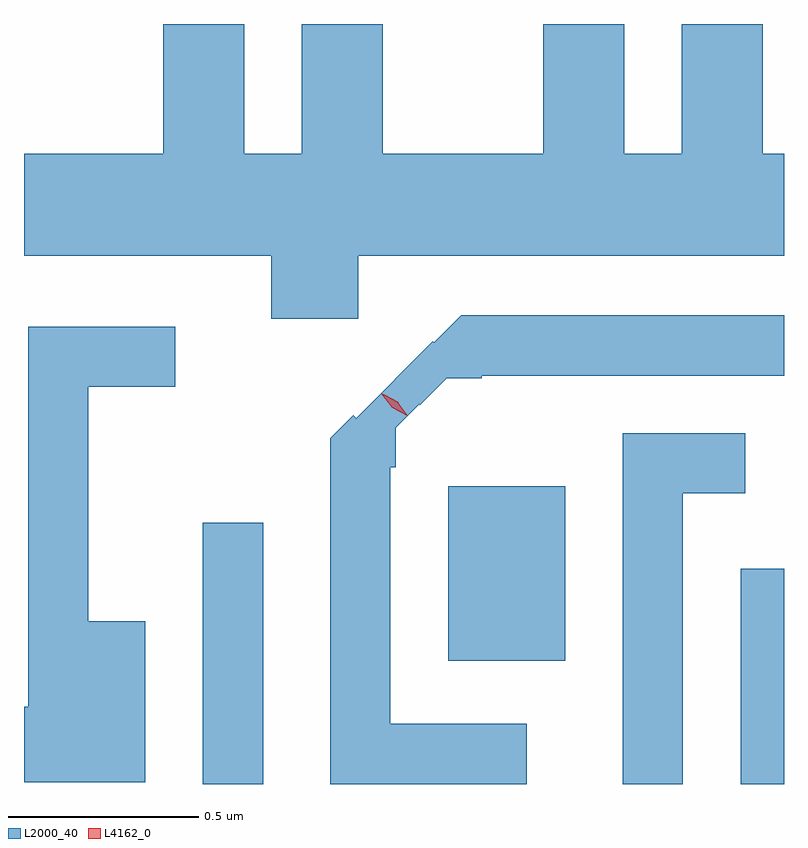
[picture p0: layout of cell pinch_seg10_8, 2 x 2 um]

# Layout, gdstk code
import gdstk
lib = gdstk.Library(unit=1e-6, precision=1e-09)
def R(c, l, rs):  # rectangles x0, y0, x1, y1
    for r in rs: c.add(gdstk.rectangle(r[:2], r[2:], *l))
def P(c, l, *ps):  # polygons
    for p in ps: c.add(gdstk.Polygon(p, *l))
L2000_40 = (2000, 40)
L4162_0 = (4162, 0)

pinch_seg10_8 = lib.new_cell('pinch_seg10_8')
R(pinch_seg10_8, L2000_40, [(839.936,2190.226,840.094,2190.913), (841.351,2190.226,841.465,2190.793), (840.581,2190.551,840.889,2191.009)])
P(pinch_seg10_8, L2000_40, [(841.465,2191.884),(841.409,2191.884),(841.409,2192.226),(841.196,2192.226),(841.196,2191.884),(841.044,2191.884),(841.044,2192.226),(840.831,2192.226),(840.831,2191.884),(840.409,2191.884),(840.409,2192.226),(840.196,2192.226),(840.196,2191.884),(840.044,2191.884),(840.044,2192.226),(839.831,2192.226),(839.831,2191.884),(839.465,2191.884),(839.465,2191.616),(840.116,2191.616),(840.116,2191.451),(840.344,2191.451),(840.344,2191.616),(841.465,2191.616)],
  [(840.788,2190.384),(840.429,2190.384),(840.429,2191.06),(840.443,2191.06),(840.443,2191.164),(840.505,2191.226),(840.507,2191.223),(840.578,2191.294),(840.67,2191.294),(840.67,2191.301),(841.465,2191.301),(841.465,2191.459),(840.615,2191.459),(840.544,2191.389),(840.541,2191.391),(840.339,2191.189),(840.332,2191.196),(840.271,2191.136),(840.271,2190.226),(840.788,2190.226)],
  [(839.784,2190.654),(839.634,2190.654),(839.634,2191.271),(839.863,2191.271),(839.863,2191.429),(839.476,2191.429),(839.476,2190.429),(839.465,2190.429),(839.465,2190.231),(839.784,2190.231)],
  [(841.199,2190.991),(841.363,2190.991),(841.363,2191.149),(841.041,2191.149),(841.041,2190.226),(841.199,2190.226)])
P(pinch_seg10_8, L4162_0, [(840.473,2191.195),(840.434,2191.216),(840.407,2191.252),(840.407,2191.253),(840.408,2191.253),(840.447,2191.232),(840.474,2191.196),(840.474,2191.195)],
  [(840.468,2191.198),(840.434,2191.218),(840.413,2191.25),(840.413,2191.251),(840.414,2191.251),(840.448,2191.232),(840.468,2191.199),(840.468,2191.198)])

lib.write_gds('pinch_seg10_8.gds')
